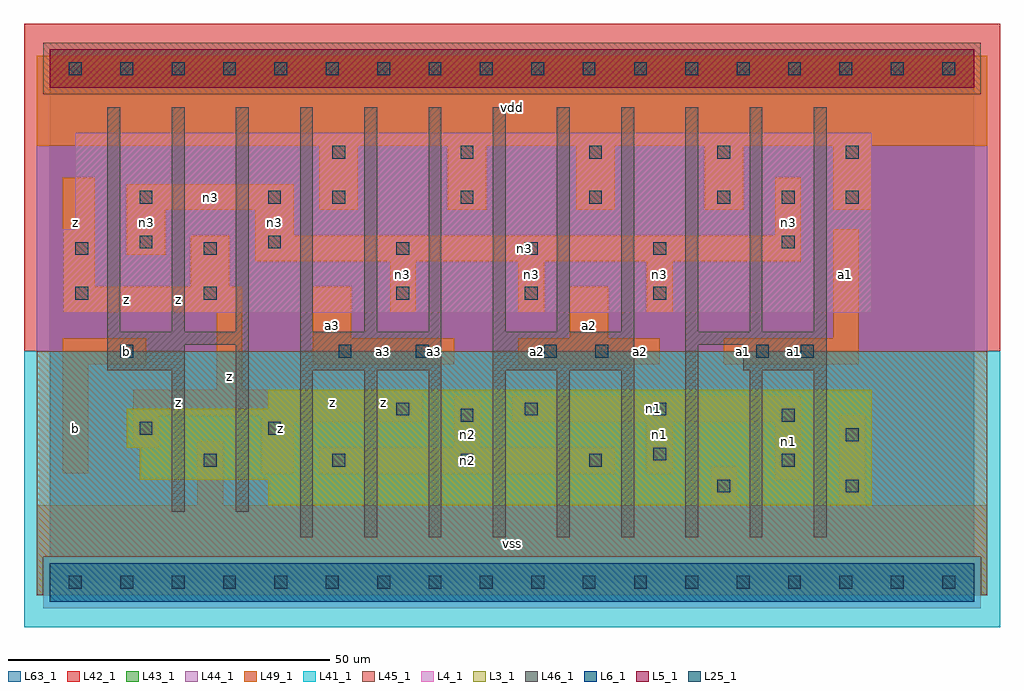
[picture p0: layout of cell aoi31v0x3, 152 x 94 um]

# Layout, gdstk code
import gdstk
lib = gdstk.Library(unit=1e-6, precision=1e-09)
def R(c, l, rs):  # rectangles x0, y0, x1, y1
    for r in rs: c.add(gdstk.rectangle(r[:2], r[2:], *l))
def A(c, l, x, y, w, h, nx, ny, dx, dy):  # array of equal rectangles
    R(c, l, [(x+i*dx, y+j*dy, x+i*dx+w, y+j*dy+h) for i in range(nx) for j in range(ny)])
L3_1 = (3, 1)
L4_1 = (4, 1)
L5_1 = (5, 1)
L6_1 = (6, 1)
L25_1 = (25, 1)
L41_1 = (41, 1)
L42_1 = (42, 1)
L43_1 = (43, 1)
L44_1 = (44, 1)
L45_1 = (45, 1)
L46_1 = (46, 1)
L49_1 = (49, 1)
L63_1 = (63, 1)

aoi31v0x3 = lib.new_cell('aoi31v0x3')
R(aoi31v0x3, L3_1, [(34,12,128,16), (14,16,128,21), (12,21,128,27), (34,27,128,30)])
R(aoi31v0x3, L4_1, [(2,42,128,55), (4,55,128,70)])
R(aoi31v0x3, L5_1, [(0,77,144,83)])
R(aoi31v0x3, L6_1, [(0,-3,144,3), (0,-3,144,3)])
A(aoi31v0x3, L25_1, 3, -1, 2, 2, 18, 2, 8, 80)
A(aoi31v0x3, L25_1, 24, 18, 2, 2, 4, 1, 20, 0)
A(aoi31v0x3, L25_1, 54, 26, 2, 2, 3, 2, 20, 18)
A(aoi31v0x3, L25_1, 54, 51, 2, 2, 3, 1, 20, 0)
A(aoi31v0x3, L25_1, 44, 59, 2, 2, 4, 1, 20, 0)
A(aoi31v0x3, L25_1, 44, 66, 2, 2, 5, 1, 20, 0)
R(aoi31v0x3, L25_1, [(104,14,106,16), (124,14,126,16), (114,18,116,20), (94,19,96,21), (124,22,126,24), (14,23,16,25), (34,23,36,25), (64,25,66,27), (114,25,116,27), (11,35,13,37), (45,35,47,37), (57,35,59,37), (77,35,79,37), (85,35,87,37), (110,35,112,37), (117,35,119,37), (4,44,6,46), (24,44,26,46), (4,51,6,53), (24,51,26,53), (14,52,16,54), (34,52,36,54), (114,52,116,54), (14,59,16,61), (34,59,36,61), (114,59,116,61), (124,59,126,61)])
R(aoi31v0x3, L41_1, [(-4,-7,148,36)])
R(aoi31v0x3, L42_1, [(-4,36,148,87)])
R(aoi31v0x3, L43_1, [(0,-3,144,3), (34,12,128,16), (14,16,128,21), (12,21,128,27), (34,27,128,30), (2,42,128,55), (4,55,128,70), (0,77,144,83)])
R(aoi31v0x3, L44_1, [(-1,-4,145,4), (-2,36,146,76), (-2,76,-1,82), (145,76,146,82)])
R(aoi31v0x3, L45_1, [(-2,-2,-1,4), (145,-2,146,4), (-2,4,146,36), (-1,76,145,84)])
A(aoi31v0x3, L46_1, 39, 7, 2, 26, 6, 1, 10, 0)
A(aoi31v0x3, L46_1, 9, 39, 2, 35, 12, 1, 10, 0)
R(aoi31v0x3, L46_1, [(99,7,101,37), (109,7,111,33), (119,7,121,33), (19,11,21,33), (29,11,31,37), (9,33,21,37), (39,33,61,39), (69,33,91,39), (108,33,121,37), (9,37,31,39), (99,37,121,39)])
A(aoi31v0x3, L49_1, 53, 42, 4, 8, 3, 1, 20, 0)
A(aoi31v0x3, L49_1, 42, 58, 6, 10, 5, 1, 20, 0)
R(aoi31v0x3, L49_1, [(-2,-2,146,12), (23,12,27,22), (103,12,107,18), (123,12,127,26), (113,16,117,25), (2,17,6,34), (33,17,38,25), (42,17,88,21), (93,17,97,25), (13,21,17,26), (63,21,67,29), (33,25,58,26), (72,25,117,29), (13,26,58,30), (26,30,30,42), (2,34,15,38), (41,34,63,38), (73,34,95,38), (105,34,126,38), (41,38,47,46), (81,38,87,46), (122,38,126,55), (2,42,30,46), (2,46,7,63), (22,46,28,54), (32,50,117,54), (12,51,18,58), (32,54,38,58), (113,54,117,63), (12,58,38,62), (-2,68,146,82)])
R(aoi31v0x3, L63_1, [(0,0,144,80)])
aoi31v0x3.add(gdstk.Label('z', (20,28), layer=49, texttype=1))
aoi31v0x3.add(gdstk.Label('b', (4,24), layer=49, texttype=1))
aoi31v0x3.add(gdstk.Label('b', (12,36), layer=49, texttype=1))
aoi31v0x3.add(gdstk.Label('z', (12,44), layer=49, texttype=1))
aoi31v0x3.add(gdstk.Label('z', (20,44), layer=49, texttype=1))
aoi31v0x3.add(gdstk.Label('n3', (15,56), layer=49, texttype=1))
aoi31v0x3.add(gdstk.Label('z', (4,56), layer=49, texttype=1))
aoi31v0x3.add(gdstk.Label('z', (36,24), layer=49, texttype=1))
aoi31v0x3.add(gdstk.Label('z', (44,28), layer=49, texttype=1))
aoi31v0x3.add(gdstk.Label('z', (52,28), layer=49, texttype=1))
aoi31v0x3.add(gdstk.Label('z', (28,32), layer=49, texttype=1))
aoi31v0x3.add(gdstk.Label('a3', (44,40), layer=49, texttype=1))
aoi31v0x3.add(gdstk.Label('a3', (52,36), layer=49, texttype=1))
aoi31v0x3.add(gdstk.Label('n3', (35,56), layer=49, texttype=1))
aoi31v0x3.add(gdstk.Label('n3', (25,60), layer=49, texttype=1))
aoi31v0x3.add(gdstk.Label('vss', (72,6), layer=49, texttype=1))
aoi31v0x3.add(gdstk.Label('n2', (65,23), layer=49, texttype=1))
aoi31v0x3.add(gdstk.Label('a3', (60,36), layer=49, texttype=1))
aoi31v0x3.add(gdstk.Label('a2', (76,36), layer=49, texttype=1))
aoi31v0x3.add(gdstk.Label('a2', (84,40), layer=49, texttype=1))
aoi31v0x3.add(gdstk.Label('n3', (75,48), layer=49, texttype=1))
aoi31v0x3.add(gdstk.Label('n3', (55,48), layer=49, texttype=1))
aoi31v0x3.add(gdstk.Label('vdd', (72,74), layer=49, texttype=1))
aoi31v0x3.add(gdstk.Label('n2', (65,19), layer=49, texttype=1))
aoi31v0x3.add(gdstk.Label('n1', (95,23), layer=49, texttype=1))
aoi31v0x3.add(gdstk.Label('a1', (108,36), layer=49, texttype=1))
aoi31v0x3.add(gdstk.Label('a2', (92,36), layer=49, texttype=1))
aoi31v0x3.add(gdstk.Label('n3', (95,48), layer=49, texttype=1))
aoi31v0x3.add(gdstk.Label('n1', (115,22), layer=49, texttype=1))
aoi31v0x3.add(gdstk.Label('n1', (94,27), layer=49, texttype=1))
aoi31v0x3.add(gdstk.Label('a1', (116,36), layer=49, texttype=1))
aoi31v0x3.add(gdstk.Label('a1', (124,48), layer=49, texttype=1))
aoi31v0x3.add(gdstk.Label('n3', (115,56), layer=49, texttype=1))
aoi31v0x3.add(gdstk.Label('n3', (74,52), layer=49, texttype=1))

lib.write_gds('aoi31v0x3.gds')
